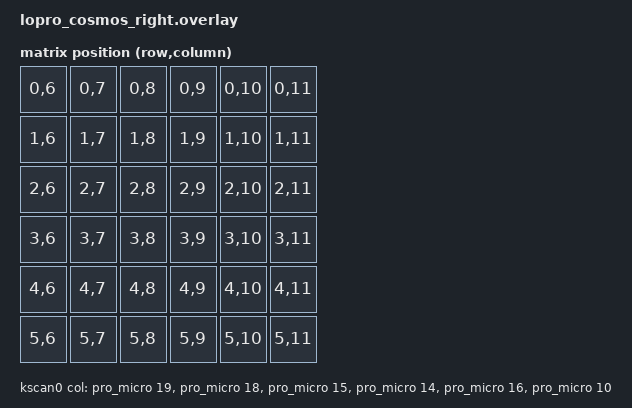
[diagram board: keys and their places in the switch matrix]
#include "lopro_cosmos.dtsi"

/ {
    chosen {
        zmk,matrix_transform = &right_transform;
    };

    right_transform: keymap_transform_right {
        compatible = "zmk,matrix-transform";
        columns = <6>;
        rows = <6>;

        map = <
            RC(0,6)  RC(0,7)  RC(0,8)  RC(0,9)  RC(0,10) RC(0,11)
            RC(1,6)  RC(1,7)  RC(1,8)  RC(1,9)  RC(1,10) RC(1,11)
            RC(2,6)  RC(2,7)  RC(2,8)  RC(2,9)  RC(2,10) RC(2,11)
            RC(3,6)  RC(3,7)  RC(3,8)  RC(3,9)  RC(3,10) RC(3,11)
            RC(4,6)  RC(4,7)  RC(4,8)  RC(4,9)  RC(4,10) RC(4,11)
            RC(5,6)  RC(5,7)  RC(5,8)  RC(5,9)  RC(5,10) RC(5,11)
        >;
    };
};

&kscan0 {
    col-gpios =
      <&pro_micro 19 GPIO_ACTIVE_HIGH>,
      <&pro_micro 18 GPIO_ACTIVE_HIGH>,
      <&pro_micro 15 GPIO_ACTIVE_HIGH>,
      <&pro_micro 14 GPIO_ACTIVE_HIGH>,
      <&pro_micro 16 GPIO_ACTIVE_HIGH>,
      <&pro_micro 10 GPIO_ACTIVE_HIGH>;
};


